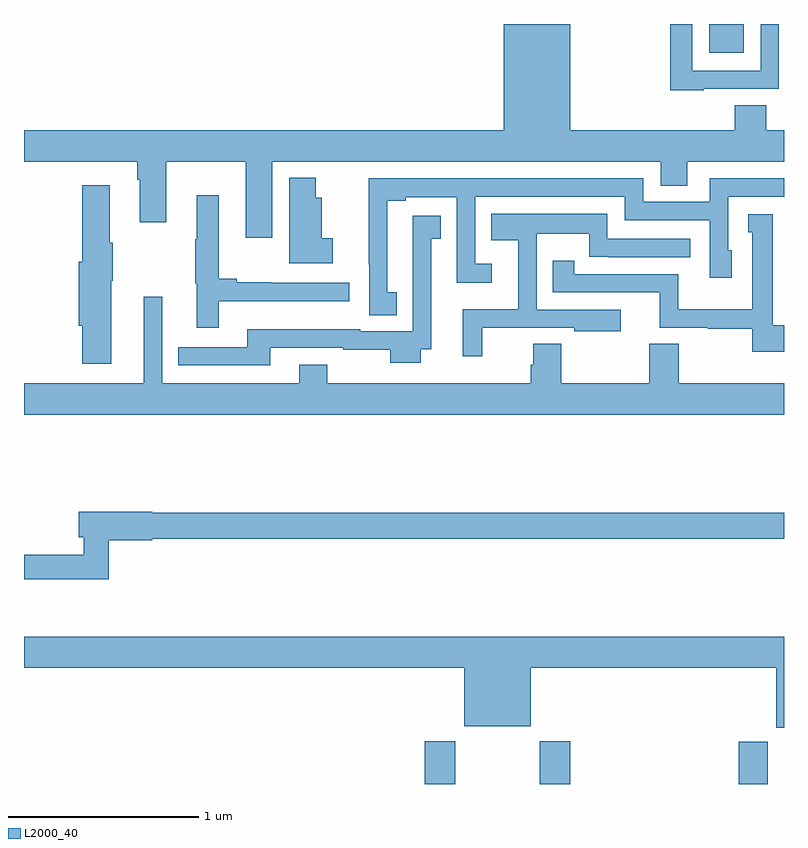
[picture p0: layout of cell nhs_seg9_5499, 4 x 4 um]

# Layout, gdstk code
import gdstk
lib = gdstk.Library(unit=1e-6, precision=1e-09)
def R(c, l, rs):  # rectangles x0, y0, x1, y1
    for r in rs: c.add(gdstk.rectangle(r[:2], r[2:], *l))
def P(c, l, *ps):  # polygons
    for p in ps: c.add(gdstk.Polygon(p, *l))
L2000_40 = (2000, 40)

nhs_seg9_5499 = lib.new_cell('nhs_seg9_5499')
R(nhs_seg9_5499, L2000_40, [(433.109,1170.5,433.269,1170.724), (433.714,1170.5,433.874,1170.724), (434.762,1170.5,434.914,1170.723), (434.606,1174.349,434.788,1174.5)])
P(nhs_seg9_5499, L2000_40, [(432.307,1173.776),(434.351,1173.776),(434.351,1173.649),(434.491,1173.649),(434.491,1173.776),(435,1173.776),(435,1173.94),(434.906,1173.94),(434.906,1174.073),(434.741,1174.073),(434.741,1173.94),(433.876,1173.94),(433.876,1174.5),(433.526,1174.5),(433.526,1173.94),(431,1173.94),(431,1173.776),(431.597,1173.776),(431.597,1173.68),(431.609,1173.68),(431.609,1173.456),(431.749,1173.456),(431.749,1173.776),(432.167,1173.776),(432.167,1173.375),(432.307,1173.375)],
  [(434.577,1174.158),(434.973,1174.158),(434.973,1174.5),(434.877,1174.5),(434.877,1174.254),(434.517,1174.254),(434.517,1174.5),(434.401,1174.5),(434.401,1174.151),(434.577,1174.151)],
  [(432.625,1173.372),(432.568,1173.372),(432.568,1173.586),(432.535,1173.586),(432.535,1173.691),(432.395,1173.691),(432.395,1173.242),(432.625,1173.242)],
  [(432.962,1173.087),(432.913,1173.087),(432.913,1173.57),(433.009,1173.57),(433.009,1173.587),(433.278,1173.587),(433.278,1173.137),(433.462,1173.137),(433.462,1173.238),(433.374,1173.238),(433.374,1173.591),(434.163,1173.591),(434.163,1173.468),(434.61,1173.468),(434.61,1173.165),(434.725,1173.165),(434.725,1173.309),(434.706,1173.309),(434.706,1173.591),(435,1173.591),(435,1173.687),(434.61,1173.687),(434.61,1173.564),(434.259,1173.564),(434.259,1173.687),(433.271,1173.687),(433.271,1173.688),(432.814,1173.688),(432.814,1173.235),(432.816,1173.235),(432.816,1172.968),(432.962,1172.968)],
  [(431.458,1173.149),(431.466,1173.149),(431.466,1173.349),(431.452,1173.349),(431.452,1173.652),(431.306,1173.652),(431.306,1173.249),(431.288,1173.249),(431.288,1172.913),(431.306,1172.913),(431.306,1172.712),(431.458,1172.712)],
  [(432.025,1173.041),(432.712,1173.041),(432.712,1173.138),(432.299,1173.138),(432.299,1173.141),(432.121,1173.141),(432.121,1173.158),(432.025,1173.158),(432.025,1173.598),(431.909,1173.598),(431.909,1173.368),(431.902,1173.368),(431.902,1173.135),(431.909,1173.135),(431.909,1172.901),(432.025,1172.901)],
  [(433.412,1172.901),(433.895,1172.901),(433.895,1172.882),(434.14,1172.882),(434.14,1172.997),(433.698,1172.997),(433.698,1173.395),(433.974,1173.395),(433.974,1173.274),(434.077,1173.274),(434.077,1173.273),(434.506,1173.273),(434.506,1173.369),(434.07,1173.369),(434.07,1173.502),(433.459,1173.502),(433.459,1173.362),(433.601,1173.362),(433.601,1172.998),(433.31,1172.998),(433.31,1172.751),(433.412,1172.751)],
  [(435,1172.914),(434.94,1172.914),(434.94,1173.01),(434.941,1173.01),(434.941,1173.498),(434.813,1173.498),(434.813,1173.405),(434.834,1173.405),(434.834,1172.998),(434.443,1172.998),(434.443,1173.183),(433.896,1173.183),(433.896,1173.253),(433.783,1173.253),(433.783,1173.087),(434.345,1173.087),(434.345,1172.901),(434.598,1172.901),(434.598,1172.896),(434.832,1172.896),(434.832,1172.774),(435,1172.774)],
  [(432.295,1172.796),(432.681,1172.796),(432.681,1172.786),(432.928,1172.786),(432.928,1172.717),(433.087,1172.717),(433.087,1172.787),(433.144,1172.787),(433.144,1173.369),(433.193,1173.369),(433.193,1173.49),(433.046,1173.49),(433.046,1173.166),(433.047,1173.166),(433.047,1172.883),(432.771,1172.883),(432.771,1172.893),(432.176,1172.893),(432.176,1172.799),(431.812,1172.799),(431.812,1172.703),(432.295,1172.703)],
  [(435,1172.608),(434.445,1172.608),(434.445,1172.816),(434.29,1172.816),(434.29,1172.608),(433.827,1172.608),(433.827,1172.816),(433.679,1172.816),(433.679,1172.706),(433.667,1172.706),(433.667,1172.608),(432.597,1172.608),(432.597,1172.707),(432.449,1172.707),(432.449,1172.608),(431.727,1172.608),(431.727,1173.064),(431.63,1173.064),(431.63,1172.608),(431,1172.608),(431,1172.444),(435,1172.444)],
  [(431.447,1171.784),(431.676,1171.784),(431.676,1171.792),(435,1171.792),(435,1171.928),(431.676,1171.928),(431.676,1171.934),(431.288,1171.934),(431.288,1171.799),(431.315,1171.799),(431.315,1171.706),(431,1171.706),(431,1171.578),(431.447,1171.578)],
  [(435,1171.276),(431,1171.276),(431,1171.112),(433.316,1171.112),(433.316,1170.803),(433.666,1170.803),(433.666,1171.112),(434.96,1171.112),(434.96,1170.795),(435,1170.795)])

lib.write_gds('nhs_seg9_5499.gds')
